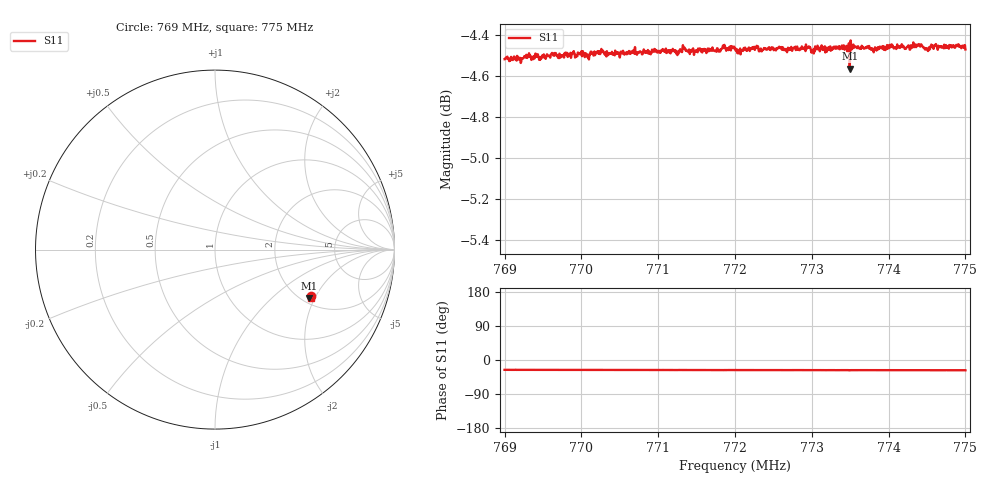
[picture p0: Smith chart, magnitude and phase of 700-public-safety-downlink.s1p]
! Calibrated averaged scanner-service zoom
# Hz S RI R 50
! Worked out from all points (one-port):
!   1001 points, 769 MHz to 775 MHz, reference 50 ohm
!   lowest |S11| = -4.6 dB at 773.494 MHz (marker M1), VSWR 3.89, Z = 109 - j90.7 ohm
!   |S11| at or under -10 dB: nowhere
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7.69e8  0.5344 -0.26
7.6945e8  0.5342 -0.2601
7.696e8  0.5347 -0.2628
7.6975e8  0.5349 -0.2622
7.69882e8  0.5355 -0.2622
7.70074e8  0.5347 -0.263
7.7026e8  0.5361 -0.2643
7.705e8  0.5336 -0.263
7.7095e8  0.5358 -0.2649
7.7125e8  0.5335 -0.2651
7.71316e8  0.5354 -0.2659
7.71442e8  0.535 -0.2661
7.72e8  0.5349 -0.2675
7.72072e8  0.5329 -0.2667
7.7227e8  0.535 -0.2672
7.72336e8  0.5343 -0.2682
7.7275e8  0.534 -0.2684
7.73386e8  0.5338 -0.2696
7.73494e8  0.526 -0.2699
7.735e8  0.533 -0.2704
7.73536e8  0.5342 -0.2701
7.73818e8  0.5335 -0.2697
7.7425e8  0.5339 -0.2704
7.74388e8  0.5339 -0.2719
7.74508e8  0.5326 -0.2703
7.74586e8  0.5327 -0.2712
7.74904e8  0.5342 -0.2716
7.75e8  0.5321 -0.272
